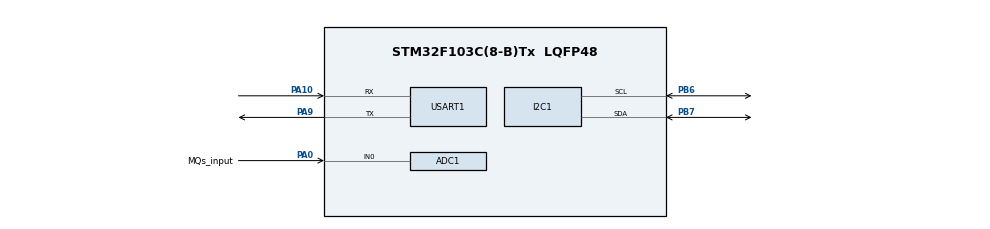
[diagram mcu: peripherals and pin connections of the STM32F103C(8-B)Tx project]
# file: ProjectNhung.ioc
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ADC1.Channel-0\#ChannelRegularConversion=ADC_CHANNEL_0
ADC1.NbrOfConversionFlag=1
ADC1.Rank-0\#ChannelRegularConversion=1
ADC1.SamplingTime-0\#ChannelRegularConversion=ADC_SAMPLETIME_1CYCLE_5
ADC1.master=1
FREERTOS.Tasks01=defaultTask,0,128,StartDefaultTask,Default,NULL,Dynamic,NULL,NULL;StartTask_DHT22,-3,128,StartTaskDHT,Default,NULL,Dynamic,NULL,NULL;StartTask_MQ2,-3,128,StartTaskMQ,Default,NULL,Dynamic,NULL,NULL;StartTask_LCD,-3,128,StartTaskLCD,Default,NULL,Dynamic,NULL,NULL;StartTask_UART,-3,128,StartTaskUART,Default,NULL,Dynamic,NULL,NULL
Mcu.Family=STM32F1
Mcu.Name=STM32F103C(8-B)Tx
Mcu.Package=LQFP48
NVIC.PriorityGroup=NVIC_PRIORITYGROUP_4
NVIC.TIM3_IRQn=true\:15\:0\:false\:false\:true\:false\:false\:true\:true
NVIC.TimeBase=TIM3_IRQn
NVIC.TimeBaseIP=TIM3
NVIC.USART1_IRQn=true\:5\:0\:false\:false\:true\:true\:false\:true\:true
PA0-WKUP.GPIO_Label=MQs_input
PA0-WKUP.Signal=ADCx_IN0
PA10.Mode=Asynchronous
PA10.Signal=USART1_RX
PA13.Mode=Serial_Wire
PA13.Signal=SYS_JTMS-SWDIO
PA14.Mode=Serial_Wire
PA14.Signal=SYS_JTCK-SWCLK
PA9.Mode=Asynchronous
PA9.Signal=USART1_TX
PB6.Mode=I2C
PB6.Signal=I2C1_SCL
PB7.Mode=I2C
PB7.Signal=I2C1_SDA
ProjectManager.HeapSize=0x200
ProjectManager.StackSize=0x400
ProjectManager.TargetToolchain=MDK-ARM V5
RCC.APB1Freq_Value=8000000
RCC.APB2Freq_Value=8000000
SH.ADCx_IN0.0=ADC1_IN0,IN0
USART1.VirtualMode=VM_ASYNC
VP_FREERTOS_VS_CMSIS_V1.Mode=CMSIS_V1
VP_SYS_VS_tim3.Mode=TIM3
board=custom

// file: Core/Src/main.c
/* USER CODE BEGIN Header */
/**
  ******************************************************************************
  * @file           : main.c
  * @brief          : Main program body
  ******************************************************************************
  * @attention
  *
  * Copyright (c) 2025 STMicroelectronics.
  * All rights reserved.
  *
  * This software is licensed under terms that can be found in the LICENSE file
  * in the root directory of this software component.
  * If no LICENSE file comes with this software, it is provided AS-IS.
  *
  ******************************************************************************
  */
/* USER CODE END Header */
#include "main.h"
#include "cmsis_os.h"
#include "adc.h"
#include "i2c.h"
#include "usart.h"
#include "gpio.h"

/* USER CODE BEGIN PV */
float temperature = 0.0;
float humidity = 0.0;
uint16_t mq_value = 0;
char uart_buffer[64];

/* USER CODE END PV */

void SystemClock_Config(void);
void MX_FREERTOS_Init(void);
/* USER CODE BEGIN PFP */
void StartTask_DHT22(void *argument);
void StartTask_MQ2(void *argument);
void StartTask_LCD(void *argument);
void StartTask_UART(void *argument);

/* USER CODE END PFP */

int main(void)
{

  /* MCU Configuration--------------------------------------------------------*/

  /* Reset of all peripherals, Initializes the Flash interface and the Systick. */
  HAL_Init();

  /* Configure the system clock */
  SystemClock_Config();

  /* Initialize all configured peripherals */
  MX_GPIO_Init();
  MX_ADC1_Init();
  MX_I2C1_Init();
  MX_USART1_UART_Init();

  /* Call init function for freertos objects (in cmsis_os2.c) */
  MX_FREERTOS_Init();

  /* Start scheduler */
  osKernelStart();

  /* We should never get here as control is now taken by the scheduler */

  /* Infinite loop */
  while (1)
  {

  }
}

void SystemClock_Config(void)
{
  RCC_OscInitTypeDef RCC_OscInitStruct = {0};
  RCC_ClkInitTypeDef RCC_ClkInitStruct = {0};
  RCC_PeriphCLKInitTypeDef PeriphClkInit = {0};

  /** Initializes the RCC Oscillators according to the specified parameters
  * in the RCC_OscInitTypeDef structure.
  */
  RCC_OscInitStruct.OscillatorType = RCC_OSCILLATORTYPE_HSI;
  RCC_OscInitStruct.HSIState = RCC_HSI_ON;
  RCC_OscInitStruct.HSICalibrationValue = RCC_HSICALIBRATION_DEFAULT;
  RCC_OscInitStruct.PLL.PLLState = RCC_PLL_NONE;
  if (HAL_RCC_OscConfig(&RCC_OscInitStruct) != HAL_OK)
  {
    Error_Handler();
  }

  /** Initializes the CPU, AHB and APB buses clocks
  */
  RCC_ClkInitStruct.ClockType = RCC_CLOCKTYPE_HCLK|RCC_CLOCKTYPE_SYSCLK
                              |RCC_CLOCKTYPE_PCLK1|RCC_CLOCKTYPE_PCLK2;
  RCC_ClkInitStruct.SYSCLKSource = RCC_SYSCLKSOURCE_HSI;
  RCC_ClkInitStruct.AHBCLKDivider = RCC_SYSCLK_DIV1;
  RCC_ClkInitStruct.APB1CLKDivider = RCC_HCLK_DIV1;
  RCC_ClkInitStruct.APB2CLKDivider = RCC_HCLK_DIV1;

  if (HAL_RCC_ClockConfig(&RCC_ClkInitStruct, FLASH_LATENCY_0) != HAL_OK)
  {
    Error_Handler();
  }
  PeriphClkInit.PeriphClockSelection = RCC_PERIPHCLK_ADC;
  PeriphClkInit.AdcClockSelection = RCC_ADCPCLK2_DIV2;
  if (HAL_RCCEx_PeriphCLKConfig(&PeriphClkInit) != HAL_OK)
  {
    Error_Handler();
  }
}

/* USER CODE BEGIN 4 */
void StartTask_DHT22(void *argument)
{
  for(;;)
  {
    static uint32_t lastTick = 0;
    if (HAL_GetTick() - lastTick >= 2000)
    {
      if (DHT22_GetTemp_Humidity(&temperature, &humidity) != ONE_OUTPUT)
      {
        temperature = -1;
        humidity = -1;
      }
      lastTick = HAL_GetTick();
    }
    osDelay(1);
  }
}

void StartTask_MQ2(void *argument)
{
  for(;;)
  {
    static uint32_t lastTick = 0;
    if (HAL_GetTick() - lastTick >= 1000)
    {
      HAL_ADC_Start(&hadc1);
      HAL_ADC_PollForConversion(&hadc1, 100);
      mq_value = HAL_ADC_GetValue(&hadc1);
      HAL_ADC_Stop(&hadc1);
      lastTick = HAL_GetTick();
    }
    osDelay(1);
  }
}

void StartTask_LCD(void *argument)
{
  lcd16x2_1stLine();
	lcd16x2_2ndLine();
  lcd16x2_clear();

  for(;;)
  {
    static uint32_t lastTick = 0;
    if (HAL_GetTick() - lastTick >= 1000)
    {
      lcd16x2_setCursor(0, 0);
      lcd16x2_printf("T:%.1f H:%.1f", temperature, humidity);

      lcd16x2_setCursor(1, 0);
      lcd16x2_printf("Gas: %d", mq_value);
      lastTick = HAL_GetTick();
    }
    osDelay(1);
  }
}

void StartTask_UART(void *argument)
{
  for(;;)
  {
    static uint32_t lastTick = 0;
    if (HAL_GetTick() - lastTick >= 2000)
    {
      sprintf(uart_buffer, "Temp: %.1f, Hum: %.1f, MQ: %d\r\n",
              temperature, humidity, mq_value);
      HAL_UART_Transmit(&huart1, (uint8_t*)uart_buffer, strlen(uart_buffer), HAL_MAX_DELAY);
      lastTick = HAL_GetTick();
    }
    osDelay(1);
  }
}

/* USER CODE END 4 */

void HAL_TIM_PeriodElapsedCallback(TIM_HandleTypeDef *htim)
{
  if (htim->Instance == TIM3)
  {
    HAL_IncTick();
  }
}

void Error_Handler(void)
{
  __disable_irq();
  while (1)
  {
  }
}

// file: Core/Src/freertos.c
/* USER CODE BEGIN Header */
/**
  ******************************************************************************
  * File Name          : freertos.c
  * Description        : Code for freertos applications
  ******************************************************************************
  * @attention
  *
  * Copyright (c) 2025 STMicroelectronics.
  * All rights reserved.
  *
  * This software is licensed under terms that can be found in the LICENSE file
  * in the root directory of this software component.
  * If no LICENSE file comes with this software, it is provided AS-IS.
  *
  ******************************************************************************
  */
/* USER CODE END Header */

#include "FreeRTOS.h"
#include "task.h"
#include "main.h"
#include "cmsis_os.h"

osThreadId defaultTaskHandle;
osThreadId StartTask_DHT22Handle;
osThreadId StartTask_MQ2Handle;
osThreadId StartTask_LCDHandle;
osThreadId StartTask_UARTHandle;

void StartDefaultTask(void const * argument);
void StartTaskDHT(void const * argument);
void StartTaskMQ(void const * argument);
void StartTaskLCD(void const * argument);
void StartTaskUART(void const * argument);

void MX_FREERTOS_Init(void); /* (MISRA C 2004 rule 8.1) */

/* GetIdleTaskMemory prototype (linked to static allocation support) */
void vApplicationGetIdleTaskMemory( StaticTask_t **ppxIdleTaskTCBBuffer, StackType_t **ppxIdleTaskStackBuffer, uint32_t *pulIdleTaskStackSize );

/* USER CODE BEGIN GET_IDLE_TASK_MEMORY */
static StaticTask_t xIdleTaskTCBBuffer;
static StackType_t xIdleStack[configMINIMAL_STACK_SIZE];

void vApplicationGetIdleTaskMemory( StaticTask_t **ppxIdleTaskTCBBuffer, StackType_t **ppxIdleTaskStackBuffer, uint32_t *pulIdleTaskStackSize )
{
  *ppxIdleTaskTCBBuffer = &xIdleTaskTCBBuffer;
  *ppxIdleTaskStackBuffer = &xIdleStack[0];
  *pulIdleTaskStackSize = configMINIMAL_STACK_SIZE;
  /* place for user code */
}
/* USER CODE END GET_IDLE_TASK_MEMORY */

void MX_FREERTOS_Init(void) {

  /* Create the thread(s) */
  /* definition and creation of defaultTask */
  osThreadDef(defaultTask, StartDefaultTask, osPriorityNormal, 0, 128);
  defaultTaskHandle = osThreadCreate(osThread(defaultTask), NULL);

  /* definition and creation of StartTask_DHT22 */
  osThreadDef(StartTask_DHT22, StartTaskDHT, osPriorityIdle, 0, 128);
  StartTask_DHT22Handle = osThreadCreate(osThread(StartTask_DHT22), NULL);

  /* definition and creation of StartTask_MQ2 */
  osThreadDef(StartTask_MQ2, StartTaskMQ, osPriorityIdle, 0, 128);
  StartTask_MQ2Handle = osThreadCreate(osThread(StartTask_MQ2), NULL);

  /* definition and creation of StartTask_LCD */
  osThreadDef(StartTask_LCD, StartTaskLCD, osPriorityIdle, 0, 128);
  StartTask_LCDHandle = osThreadCreate(osThread(StartTask_LCD), NULL);

  /* definition and creation of StartTask_UART */
  osThreadDef(StartTask_UART, StartTaskUART, osPriorityIdle, 0, 128);
  StartTask_UARTHandle = osThreadCreate(osThread(StartTask_UART), NULL);

}

void StartDefaultTask(void const * argument)
{
  for(;;)
  {
    osDelay(1);
  }
}

void StartTaskDHT(void const * argument)
{
  for(;;)
  {
    osDelay(1);
  }
}

void StartTaskMQ(void const * argument)
{
  for(;;)
  {
    osDelay(1);
  }
}

void StartTaskLCD(void const * argument)
{
  for(;;)
  {
    osDelay(1);
  }
}

void StartTaskUART(void const * argument)
{
  for(;;)
  {
    osDelay(1);
  }
}
